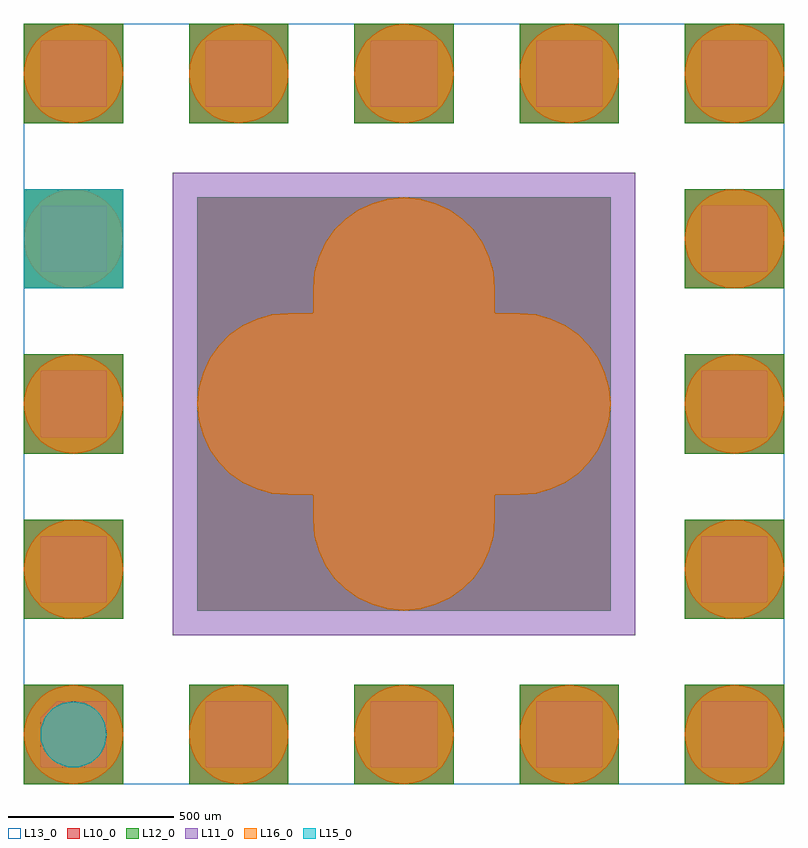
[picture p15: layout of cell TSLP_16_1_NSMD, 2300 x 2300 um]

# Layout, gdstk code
import gdstk
lib = gdstk.Library(unit=1e-6, precision=1e-09)
def R(c, l, rs):  # rectangles x0, y0, x1, y1
    for r in rs: c.add(gdstk.rectangle(r[:2], r[2:], *l))
def A(c, l, x, y, w, h, nx, ny, dx, dy):  # array of equal rectangles
    R(c, l, [(x+i*dx, y+j*dy, x+i*dx+w, y+j*dy+h) for i in range(nx) for j in range(ny)])
def P(c, l, *ps):  # polygons
    for p in ps: c.add(gdstk.Polygon(p, *l))
L10_0 = (10, 0)
L11_0 = (11, 0)
L12_0 = (12, 0)
L13_0 = (13, 0)
L15_0 = (15, 0)
L16_0 = (16, 0)

tslp_16_1_nsmd = lib.new_cell('TSLP_16_1_NSMD')
A(tslp_16_1_nsmd, L10_0, -1150, -1150, 300, 300, 5, 2, 500, 2000)
A(tslp_16_1_nsmd, L10_0, -1150, -650, 300, 300, 1, 3, 0, 500)
A(tslp_16_1_nsmd, L10_0, 850, -650, 300, 300, 1, 3, 0, 500)
R(tslp_16_1_nsmd, L10_0, [(-625,-625,625,625)])
A(tslp_16_1_nsmd, L11_0, -600, -1100, 200, 200, 4, 1, 500, 0)
A(tslp_16_1_nsmd, L11_0, -1100, -600, 200, 200, 1, 3, 0, 500)
A(tslp_16_1_nsmd, L11_0, 900, -600, 200, 200, 1, 3, 0, 500)
A(tslp_16_1_nsmd, L11_0, -1100, 900, 200, 200, 5, 1, 500, 0)
R(tslp_16_1_nsmd, L11_0, [(-700,-700,700,700)])
P(tslp_16_1_nsmd, L11_0, [(-900,-1100),(-1100,-1100),(-1100,-950),(-1050,-900),(-900,-900)])
A(tslp_16_1_nsmd, L12_0, -1150, -1150, 300, 300, 5, 2, 500, 2000)
A(tslp_16_1_nsmd, L12_0, -1150, -650, 300, 300, 1, 3, 0, 500)
A(tslp_16_1_nsmd, L12_0, 850, -650, 300, 300, 1, 3, 0, 500)
R(tslp_16_1_nsmd, L12_0, [(-625,-625,625,625)])
R(tslp_16_1_nsmd, L13_0, [(-1150,-1150,1150,1150)])
R(tslp_16_1_nsmd, L15_0, [(-1150,350,-850,650)])
P(tslp_16_1_nsmd, L15_0, [(-906,-1034),(-913,-1050),(-923,-1064),(-936,-1077),(-950,-1087),(-966,-1094),(-983,-1099),(-1000,-1100),(-1017,-1099),(-1034,-1094),(-1050,-1087),(-1064,-1077),(-1077,-1064),(-1087,-1050),(-1094,-1034),(-1099,-1017),(-1100,-1000),(-1099,-983),(-1094,-966),(-1087,-950),(-1077,-936),(-1064,-923),(-1050,-913),(-1034,-906),(-1017,-902),(-1000,-900),(-983,-902),(-966,-906),(-950,-913),(-936,-923),(-923,-936),(-913,-950),(-906,-966),(-902,-983),(-900,-1000),(-902,-1017)])
P(tslp_16_1_nsmd, L16_0, [(-488,-238),(-444,-258),(-398,-271),(-350,-275),(-275,-275),(-275,-350),(-271,-398),(-258,-444),(-238,-488),(-211,-527),(-177,-561),(-138,-588),(-94,-608),(-48,-621),(0,-625),(48,-621),(94,-608),(138,-588),(177,-561),(211,-527),(238,-488),(258,-444),(271,-398),(275,-350),(275,-275),(350,-275),(398,-271),(444,-258),(488,-238),(527,-211),(561,-177),(588,-138),(608,-94),(621,-48),(625,0),(621,48),(608,94),(588,138),(561,177),(527,211),(488,238),(444,258),(398,271),(350,275),(275,275),(275,350),(271,398),(258,444),(238,488),(211,527),(177,561),(138,588),(94,608),(48,621),(0,625),(-48,621),(-94,608),(-138,588),(-177,561),(-211,527),(-238,488),(-258,444),(-271,398),(-275,350),(-275,275),(-350,275),(-398,271),(-444,258),(-488,238),(-527,211),(-561,177),(-588,138),(-608,94),(-621,48),(-625,0),(-621,-48),(-608,-94),(-588,-138),(-561,-177),(-527,-211)],
  [(359,1051),(370,1075),(385,1096),(404,1115),(425,1130),(449,1141),(474,1148),(500,1150),(526,1148),(551,1141),(575,1130),(596,1115),(615,1096),(630,1075),(641,1051),(648,1026),(650,1000),(648,974),(641,949),(630,925),(615,904),(596,885),(575,870),(551,859),(526,852),(500,850),(474,852),(449,859),(425,870),(404,885),(385,904),(370,925),(359,949),(352,974),(350,1000),(352,1026)],
  [(-641,1051),(-630,1075),(-615,1096),(-596,1115),(-575,1130),(-551,1141),(-526,1148),(-500,1150),(-474,1148),(-449,1141),(-425,1130),(-404,1115),(-385,1096),(-370,1075),(-359,1051),(-352,1026),(-350,1000),(-352,974),(-359,949),(-370,925),(-385,904),(-404,885),(-425,870),(-449,859),(-474,852),(-500,850),(-526,852),(-551,859),(-575,870),(-596,885),(-615,904),(-630,925),(-641,949),(-648,974),(-650,1000),(-648,1026)],
  [(-1141,1051),(-1130,1075),(-1115,1096),(-1096,1115),(-1075,1130),(-1051,1141),(-1026,1148),(-1000,1150),(-974,1148),(-949,1141),(-925,1130),(-904,1115),(-885,1096),(-870,1075),(-859,1051),(-852,1026),(-850,1000),(-852,974),(-859,949),(-870,925),(-885,904),(-904,885),(-925,870),(-949,859),(-974,852),(-1000,850),(-1026,852),(-1051,859),(-1075,870),(-1096,885),(-1115,904),(-1130,925),(-1141,949),(-1148,974),(-1150,1000),(-1148,1026)],
  [(-1141,551),(-1130,575),(-1115,596),(-1096,615),(-1075,630),(-1051,641),(-1026,648),(-1000,650),(-974,648),(-949,641),(-925,630),(-904,615),(-885,596),(-870,575),(-859,551),(-852,526),(-850,500),(-852,474),(-859,449),(-870,425),(-885,404),(-904,385),(-925,370),(-949,359),(-974,352),(-1000,350),(-1026,352),(-1051,359),(-1075,370),(-1096,385),(-1115,404),(-1130,425),(-1141,449),(-1148,474),(-1150,500),(-1148,526)],
  [(-1141,-449),(-1130,-425),(-1115,-404),(-1096,-385),(-1075,-370),(-1051,-359),(-1026,-352),(-1000,-350),(-974,-352),(-949,-359),(-925,-370),(-904,-385),(-885,-404),(-870,-425),(-859,-449),(-852,-474),(-850,-500),(-852,-526),(-859,-551),(-870,-575),(-885,-596),(-904,-615),(-925,-630),(-949,-641),(-974,-648),(-1000,-650),(-1026,-648),(-1051,-641),(-1075,-630),(-1096,-615),(-1115,-596),(-1130,-575),(-1141,-551),(-1148,-526),(-1150,-500),(-1148,-474)],
  [(-1141,-949),(-1130,-925),(-1115,-904),(-1096,-885),(-1075,-870),(-1051,-859),(-1026,-852),(-1000,-850),(-974,-852),(-949,-859),(-925,-870),(-904,-885),(-885,-904),(-870,-925),(-859,-949),(-852,-974),(-850,-1000),(-852,-1026),(-859,-1051),(-870,-1075),(-885,-1096),(-904,-1115),(-925,-1130),(-949,-1141),(-974,-1148),(-1000,-1150),(-1026,-1148),(-1051,-1141),(-1075,-1130),(-1096,-1115),(-1115,-1096),(-1130,-1075),(-1141,-1051),(-1148,-1026),(-1150,-1000),(-1148,-974)],
  [(-641,-949),(-630,-925),(-615,-904),(-596,-885),(-575,-870),(-551,-859),(-526,-852),(-500,-850),(-474,-852),(-449,-859),(-425,-870),(-404,-885),(-385,-904),(-370,-925),(-359,-949),(-352,-974),(-350,-1000),(-352,-1026),(-359,-1051),(-370,-1075),(-385,-1096),(-404,-1115),(-425,-1130),(-449,-1141),(-474,-1148),(-500,-1150),(-526,-1148),(-551,-1141),(-575,-1130),(-596,-1115),(-615,-1096),(-630,-1075),(-641,-1051),(-648,-1026),(-650,-1000),(-648,-974)],
  [(359,-949),(370,-925),(385,-904),(404,-885),(425,-870),(449,-859),(474,-852),(500,-850),(526,-852),(551,-859),(575,-870),(596,-885),(615,-904),(630,-925),(641,-949),(648,-974),(650,-1000),(648,-1026),(641,-1051),(630,-1075),(615,-1096),(596,-1115),(575,-1130),(551,-1141),(526,-1148),(500,-1150),(474,-1148),(449,-1141),(425,-1130),(404,-1115),(385,-1096),(370,-1075),(359,-1051),(352,-1026),(350,-1000),(352,-974)],
  [(859,-949),(870,-925),(885,-904),(904,-885),(925,-870),(949,-859),(974,-852),(1000,-850),(1026,-852),(1051,-859),(1075,-870),(1096,-885),(1115,-904),(1130,-925),(1141,-949),(1148,-974),(1150,-1000),(1148,-1026),(1141,-1051),(1130,-1075),(1115,-1096),(1096,-1115),(1075,-1130),(1051,-1141),(1026,-1148),(1000,-1150),(974,-1148),(949,-1141),(925,-1130),(904,-1115),(885,-1096),(870,-1075),(859,-1051),(852,-1026),(850,-1000),(852,-974)],
  [(859,-449),(870,-425),(885,-404),(904,-385),(925,-370),(949,-359),(974,-352),(1000,-350),(1026,-352),(1051,-359),(1075,-370),(1096,-385),(1115,-404),(1130,-425),(1141,-449),(1148,-474),(1150,-500),(1148,-526),(1141,-551),(1130,-575),(1115,-596),(1096,-615),(1075,-630),(1051,-641),(1026,-648),(1000,-650),(974,-648),(949,-641),(925,-630),(904,-615),(885,-596),(870,-575),(859,-551),(852,-526),(850,-500),(852,-474)],
  [(859,551),(870,575),(885,596),(904,615),(925,630),(949,641),(974,648),(1000,650),(1026,648),(1051,641),(1075,630),(1096,615),(1115,596),(1130,575),(1141,551),(1148,526),(1150,500),(1148,474),(1141,449),(1130,425),(1115,404),(1096,385),(1075,370),(1051,359),(1026,352),(1000,350),(974,352),(949,359),(925,370),(904,385),(885,404),(870,425),(859,449),(852,474),(850,500),(852,526)],
  [(859,1051),(870,1075),(885,1096),(904,1115),(925,1130),(949,1141),(974,1148),(1000,1150),(1026,1148),(1051,1141),(1075,1130),(1096,1115),(1115,1096),(1130,1075),(1141,1051),(1148,1026),(1150,1000),(1148,974),(1141,949),(1130,925),(1115,904),(1096,885),(1075,870),(1051,859),(1026,852),(1000,850),(974,852),(949,859),(925,870),(904,885),(885,904),(870,925),(859,949),(852,974),(850,1000),(852,1026)],
  [(-141,-949),(-130,-925),(-115,-904),(-96,-885),(-75,-870),(-51,-859),(-26,-852),(0,-850),(26,-852),(51,-859),(75,-870),(96,-885),(115,-904),(130,-925),(141,-949),(148,-974),(150,-1000),(148,-1026),(141,-1051),(130,-1075),(115,-1096),(96,-1115),(75,-1130),(51,-1141),(26,-1148),(0,-1150),(-26,-1148),(-51,-1141),(-75,-1130),(-96,-1115),(-115,-1096),(-130,-1075),(-141,-1051),(-148,-1026),(-150,-1000),(-148,-974)],
  [(-141,1051),(-130,1075),(-115,1096),(-96,1115),(-75,1130),(-51,1141),(-26,1148),(0,1150),(26,1148),(51,1141),(75,1130),(96,1115),(115,1096),(130,1075),(141,1051),(148,1026),(150,1000),(148,974),(141,949),(130,925),(115,904),(96,885),(75,870),(51,859),(26,852),(0,850),(-26,852),(-51,859),(-75,870),(-96,885),(-115,904),(-130,925),(-141,949),(-148,974),(-150,1000),(-148,1026)],
  [(-1141,51),(-1130,75),(-1115,96),(-1096,115),(-1075,130),(-1051,141),(-1026,148),(-1000,150),(-974,148),(-949,141),(-925,130),(-904,115),(-885,96),(-870,75),(-859,51),(-852,26),(-850,0),(-852,-26),(-859,-51),(-870,-75),(-885,-96),(-904,-115),(-925,-130),(-949,-141),(-974,-148),(-1000,-150),(-1026,-148),(-1051,-141),(-1075,-130),(-1096,-115),(-1115,-96),(-1130,-75),(-1141,-51),(-1148,-26),(-1150,0),(-1148,26)],
  [(859,51),(870,75),(885,96),(904,115),(925,130),(949,141),(974,148),(1000,150),(1026,148),(1051,141),(1075,130),(1096,115),(1115,96),(1130,75),(1141,51),(1148,26),(1150,0),(1148,-26),(1141,-51),(1130,-75),(1115,-96),(1096,-115),(1075,-130),(1051,-141),(1026,-148),(1000,-150),(974,-148),(949,-141),(925,-130),(904,-115),(885,-96),(870,-75),(859,-51),(852,-26),(850,0),(852,26)])

lib.write_gds('TSLP_16_1_NSMD.gds')
